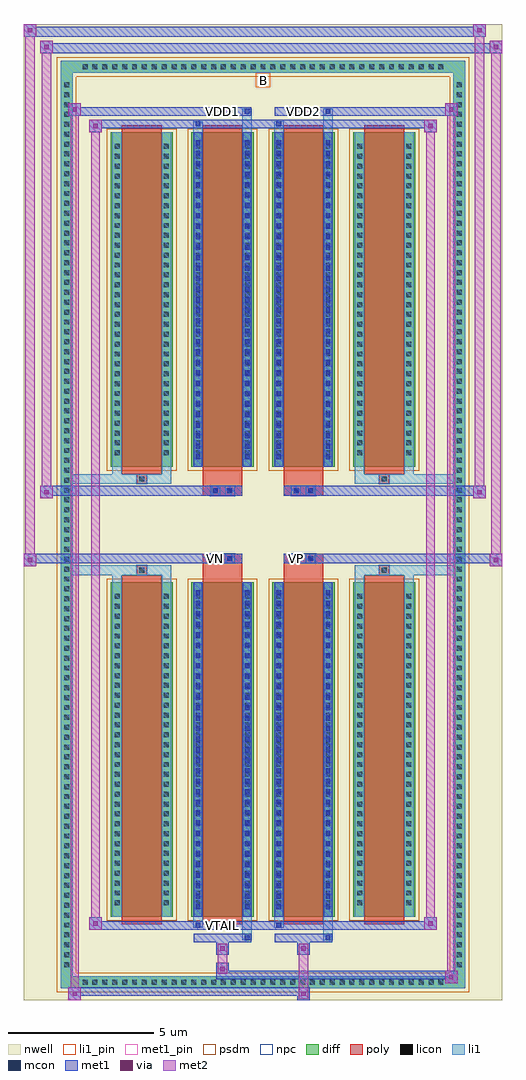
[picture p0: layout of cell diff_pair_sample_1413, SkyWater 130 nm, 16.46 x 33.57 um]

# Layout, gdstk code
import gdstk
lib = gdstk.Library(unit=1e-6, precision=5e-09)
def R(c, l, rs):  # rectangles x0, y0, x1, y1
    for r in rs: c.add(gdstk.rectangle(r[:2], r[2:], *l))
def A(c, l, x, y, w, h, nx, ny, dx, dy):  # array of equal rectangles
    R(c, l, [(x+i*dx, y+j*dy, x+i*dx+w, y+j*dy+h) for i in range(nx) for j in range(ny)])
def P(c, l, *ps):  # polygons
    for p in ps: c.add(gdstk.Polygon(p, *l))
nwell = (64, 20)
diff = (65, 20)
poly = (66, 20)
licon = (66, 44)
li1_pin = (67, 16)
li1 = (67, 20)
mcon = (67, 44)
met1_pin = (68, 16)
met1 = (68, 20)
via = (68, 44)
met2 = (69, 20)
psdm = (94, 20)
npc = (95, 20)

diff_pair_sample_1413 = lib.new_cell('diff_pair_sample_1413')
R(diff_pair_sample_1413, nwell, [(-8.23,-16.35,8.23,17.22), (-5.55,-14.54,-0.01,-0.8), (0.01,-14.54,5.55,-0.8), (-5.55,0.8,-0.01,14.54), (0.01,0.8,5.55,14.54)])
A(diff_pair_sample_1413, diff, -6.325, -15.95, 0.41, 0.41, 37, 2, 0.34, 31.49)
A(diff_pair_sample_1413, diff, -6.96, -15.335, 0.41, 0.41, 1, 90, 0, 0.34)
A(diff_pair_sample_1413, diff, 6.55, -15.335, 0.41, 0.41, 1, 90, 0, 0.34)
A(diff_pair_sample_1413, diff, -5.24, -13.495, 2.14, 11.51, 4, 2, 2.78, 15.48)
R(diff_pair_sample_1413, diff, [(-6.325,-15.95,6.325,-15.54), (-6.96,-15.335,-6.55,15.335), (6.55,-15.335,6.96,15.335), (-6.325,15.54,6.325,15.95)])
P(diff_pair_sample_1413, diff, [(6.96,15.95),(-6.96,15.95),(-6.96,-15.54),(-6.55,-15.54),(-6.55,15.54),(6.55,15.54),(6.55,-15.54),(-6.55,-15.54),(-6.96,-15.54),(-6.96,-15.95),(6.96,-15.95)])
A(diff_pair_sample_1413, poly, -4.85, -13.745, 1.36, 12.01, 4, 2, 2.78, 15.48)
R(diff_pair_sample_1413, poly, [(-4.335,-1.735,-4.005,-1.405), (-4.335,-1.735,-4.005,-1.405), (-2.07,-1.735,-0.71,-1.33), (0.71,-1.735,2.07,-1.33), (4.005,-1.735,4.335,-1.405), (4.005,-1.735,4.335,-1.405), (-2.07,-1.33,-0.71,-1), (-1.805,-1.33,-1.475,-1), (-1.305,-1.33,-0.975,-1), (0.71,-1.33,2.07,-1), (0.975,-1.33,1.305,-1), (1.475,-1.33,1.805,-1), (-2.07,1,-0.71,1.33), (-1.805,1,-1.475,1.33), (-1.305,1,-0.975,1.33), (0.71,1,2.07,1.33), (0.975,1,1.305,1.33), (1.475,1,1.805,1.33), (-2.07,1.33,-0.71,1.735), (0.71,1.33,2.07,1.735), (-4.335,1.405,-4.005,1.735), (-4.335,1.405,-4.005,1.735), (4.005,1.405,4.335,1.735), (4.005,1.405,4.335,1.735)])
A(diff_pair_sample_1413, licon, -6.205, -15.83, 0.17, 0.17, 37, 2, 0.34, 31.49)
A(diff_pair_sample_1413, licon, -6.84, -15.215, 0.17, 0.17, 1, 90, 0, 0.34)
A(diff_pair_sample_1413, licon, 6.67, -15.215, 0.17, 0.17, 1, 90, 0, 0.34)
A(diff_pair_sample_1413, licon, -5.1, -13.095, 0.17, 0.17, 1, 32, 0, 0.34)
A(diff_pair_sample_1413, licon, -3.41, -13.095, 0.17, 0.17, 1, 32, 0, 0.34)
A(diff_pair_sample_1413, licon, -2.32, -13.095, 0.17, 0.17, 1, 32, 0, 0.34)
A(diff_pair_sample_1413, licon, -0.63, -13.095, 0.17, 0.17, 1, 32, 0, 0.34)
A(diff_pair_sample_1413, licon, 0.46, -13.095, 0.17, 0.17, 1, 32, 0, 0.34)
A(diff_pair_sample_1413, licon, 2.15, -13.095, 0.17, 0.17, 1, 32, 0, 0.34)
A(diff_pair_sample_1413, licon, 3.24, -13.095, 0.17, 0.17, 1, 32, 0, 0.34)
A(diff_pair_sample_1413, licon, 4.93, -13.095, 0.17, 0.17, 1, 32, 0, 0.34)
A(diff_pair_sample_1413, licon, -5.1, 2.385, 0.17, 0.17, 1, 32, 0, 0.34)
A(diff_pair_sample_1413, licon, -3.41, 2.385, 0.17, 0.17, 1, 32, 0, 0.34)
A(diff_pair_sample_1413, licon, -2.32, 2.385, 0.17, 0.17, 1, 32, 0, 0.34)
A(diff_pair_sample_1413, licon, -0.63, 2.385, 0.17, 0.17, 1, 32, 0, 0.34)
A(diff_pair_sample_1413, licon, 0.46, 2.385, 0.17, 0.17, 1, 32, 0, 0.34)
A(diff_pair_sample_1413, licon, 2.15, 2.385, 0.17, 0.17, 1, 32, 0, 0.34)
A(diff_pair_sample_1413, licon, 3.24, 2.385, 0.17, 0.17, 1, 32, 0, 0.34)
A(diff_pair_sample_1413, licon, 4.93, 2.385, 0.17, 0.17, 1, 32, 0, 0.34)
R(diff_pair_sample_1413, licon, [(-4.255,-1.655,-4.085,-1.485), (4.085,-1.655,4.255,-1.485), (-1.725,-1.25,-1.555,-1.08), (-1.225,-1.25,-1.055,-1.08), (1.055,-1.25,1.225,-1.08), (1.555,-1.25,1.725,-1.08), (-1.725,1.08,-1.555,1.25), (-1.225,1.08,-1.055,1.25), (1.055,1.08,1.225,1.25), (1.555,1.08,1.725,1.25), (-4.255,1.485,-4.085,1.655), (4.085,1.485,4.255,1.655)])
R(diff_pair_sample_1413, li1_pin, [(-0.25,15.04,0.25,15.54)])
A(diff_pair_sample_1413, li1, -6.285, -15.91, 0.33, 0.33, 37, 2, 0.34, 31.49)
A(diff_pair_sample_1413, li1, -6.92, -15.295, 0.33, 0.33, 1, 90, 0, 0.34)
A(diff_pair_sample_1413, li1, 6.59, -15.295, 0.33, 0.33, 1, 90, 0, 0.34)
A(diff_pair_sample_1413, li1, -2.32, -13.225, 0.17, 0.17, 1, 31, 0, 0.36)
A(diff_pair_sample_1413, li1, -0.63, -13.225, 0.17, 0.17, 1, 31, 0, 0.36)
A(diff_pair_sample_1413, li1, 0.46, -13.225, 0.17, 0.17, 1, 31, 0, 0.36)
A(diff_pair_sample_1413, li1, 2.15, -13.225, 0.17, 0.17, 1, 31, 0, 0.36)
A(diff_pair_sample_1413, li1, -5.18, -13.175, 0.33, 0.33, 1, 32, 0, 0.34)
A(diff_pair_sample_1413, li1, -3.49, -13.175, 0.33, 0.33, 1, 32, 0, 0.34)
A(diff_pair_sample_1413, li1, -2.4, -13.175, 0.33, 0.33, 1, 32, 0, 0.34)
A(diff_pair_sample_1413, li1, -0.71, -13.175, 0.33, 0.33, 1, 32, 0, 0.34)
A(diff_pair_sample_1413, li1, 0.38, -13.175, 0.33, 0.33, 1, 32, 0, 0.34)
A(diff_pair_sample_1413, li1, 2.07, -13.175, 0.33, 0.33, 1, 32, 0, 0.34)
A(diff_pair_sample_1413, li1, 3.16, -13.175, 0.33, 0.33, 1, 32, 0, 0.34)
A(diff_pair_sample_1413, li1, 4.85, -13.175, 0.33, 0.33, 1, 32, 0, 0.34)
A(diff_pair_sample_1413, li1, -2.32, 2.255, 0.17, 0.17, 1, 31, 0, 0.36)
A(diff_pair_sample_1413, li1, -0.63, 2.255, 0.17, 0.17, 1, 31, 0, 0.36)
A(diff_pair_sample_1413, li1, 0.46, 2.255, 0.17, 0.17, 1, 31, 0, 0.36)
A(diff_pair_sample_1413, li1, 2.15, 2.255, 0.17, 0.17, 1, 31, 0, 0.36)
A(diff_pair_sample_1413, li1, -5.18, 2.305, 0.33, 0.33, 1, 32, 0, 0.34)
A(diff_pair_sample_1413, li1, -3.49, 2.305, 0.33, 0.33, 1, 32, 0, 0.34)
A(diff_pair_sample_1413, li1, -2.4, 2.305, 0.33, 0.33, 1, 32, 0, 0.34)
A(diff_pair_sample_1413, li1, -0.71, 2.305, 0.33, 0.33, 1, 32, 0, 0.34)
A(diff_pair_sample_1413, li1, 0.38, 2.305, 0.33, 0.33, 1, 32, 0, 0.34)
A(diff_pair_sample_1413, li1, 2.07, 2.305, 0.33, 0.33, 1, 32, 0, 0.34)
A(diff_pair_sample_1413, li1, 3.16, 2.305, 0.33, 0.33, 1, 32, 0, 0.34)
A(diff_pair_sample_1413, li1, 4.85, 2.305, 0.33, 0.33, 1, 32, 0, 0.34)
R(diff_pair_sample_1413, li1, [(-6.96,-15.95,-6.55,-15.54), (-6.96,-15.95,-6.55,-15.54), (-6.55,-15.95,6.55,-15.54), (6.55,-15.95,6.96,-15.54), (6.55,-15.95,6.96,-15.54), (-6.96,-15.54,-6.55,15.54), (6.55,-15.54,6.96,15.54), (-0.71,-14.3,-0.38,-13.495), (-0.63,-14.3,-0.46,-14.13), (2.07,-14.3,2.4,-13.495), (2.15,-14.3,2.32,-14.13), (-2.4,-13.87,-2.07,-13.495), (-2.32,-13.87,-2.15,-13.7), (0.38,-13.87,0.71,-13.495), (0.46,-13.87,0.63,-13.7), (-5.18,-13.495,-4.85,-1.985), (-3.49,-13.495,-3.16,-1.985), (-2.4,-13.495,-2.07,-1.985), (-0.71,-13.495,-0.38,-1.985), (0.38,-13.495,0.71,-1.985), (2.07,-13.495,2.4,-1.985), (3.16,-13.495,3.49,-1.985), (4.85,-13.495,5.18,-1.985), (-2.32,-13.225,-2.15,-2.255), (-0.63,-13.225,-0.46,-2.255), (0.46,-13.225,0.63,-2.255), (2.15,-13.225,2.32,-2.255), (-5.18,-1.985,-4.85,-1.405), (-3.49,-1.985,-3.16,-1.405), (3.16,-1.985,3.49,-1.405), (4.85,-1.985,5.18,-1.405), (-6.96,-1.735,-4.335,-1.405), (-5.18,-1.735,-4.335,-1.405), (-4.335,-1.735,-4.005,-1.405), (-4.005,-1.735,-3.16,-1.405), (3.16,-1.735,4.005,-1.405), (4.005,-1.735,4.335,-1.405), (4.005,-1.735,6.96,-1.405), (4.335,-1.735,5.18,-1.405), (-1.805,-1.33,-1.475,-1), (-1.305,-1.33,-0.975,-1), (0.975,-1.33,1.305,-1), (1.475,-1.33,1.805,-1), (-1.805,1,-1.475,1.33), (-1.305,1,-0.975,1.33), (0.975,1,1.305,1.33), (1.475,1,1.805,1.33), (-6.96,1.405,-4.335,1.735), (-5.18,1.405,-4.335,1.735), (-5.18,1.405,-4.85,1.985), (-4.335,1.405,-4.005,1.735), (-4.005,1.405,-3.16,1.735), (-3.49,1.405,-3.16,1.985), (3.16,1.405,4.005,1.735), (3.16,1.405,3.49,1.985), (4.005,1.405,4.335,1.735), (4.005,1.405,6.96,1.735), (4.335,1.405,5.18,1.735), (4.85,1.405,5.18,1.985), (-5.18,1.985,-4.85,13.495), (-3.49,1.985,-3.16,13.495), (-2.4,1.985,-2.07,13.495), (-0.71,1.985,-0.38,13.495), (0.38,1.985,0.71,13.495), (2.07,1.985,2.4,13.495), (3.16,1.985,3.49,13.495), (4.85,1.985,5.18,13.495), (-2.32,2.255,-2.15,13.225), (-0.63,2.255,-0.46,13.225), (0.46,2.255,0.63,13.225), (2.15,2.255,2.32,13.225), (-2.4,13.495,-2.07,13.87), (-0.71,13.495,-0.38,14.3), (0.38,13.495,0.71,13.87), (2.07,13.495,2.4,14.3), (-2.32,13.7,-2.15,13.87), (0.46,13.7,0.63,13.87), (-0.63,14.13,-0.46,14.3), (2.15,14.13,2.32,14.3), (-6.96,15.54,-6.55,15.95), (-6.96,15.54,-6.55,15.95), (-6.55,15.54,6.55,15.95), (6.55,15.54,6.96,15.95), (6.55,15.54,6.96,15.95)])
A(diff_pair_sample_1413, mcon, -2.32, -13.225, 0.17, 0.17, 1, 31, 0, 0.36)
A(diff_pair_sample_1413, mcon, -0.63, -13.225, 0.17, 0.17, 1, 31, 0, 0.36)
A(diff_pair_sample_1413, mcon, 0.46, -13.225, 0.17, 0.17, 1, 31, 0, 0.36)
A(diff_pair_sample_1413, mcon, 2.15, -13.225, 0.17, 0.17, 1, 31, 0, 0.36)
A(diff_pair_sample_1413, mcon, -2.32, 2.255, 0.17, 0.17, 1, 31, 0, 0.36)
A(diff_pair_sample_1413, mcon, -0.63, 2.255, 0.17, 0.17, 1, 31, 0, 0.36)
A(diff_pair_sample_1413, mcon, 0.46, 2.255, 0.17, 0.17, 1, 31, 0, 0.36)
A(diff_pair_sample_1413, mcon, 2.15, 2.255, 0.17, 0.17, 1, 31, 0, 0.36)
R(diff_pair_sample_1413, mcon, [(-0.63,-14.3,-0.46,-14.13), (2.15,-14.3,2.32,-14.13), (-2.32,-13.87,-2.15,-13.7), (0.46,-13.87,0.63,-13.7), (-1.725,-1.25,-1.555,-1.08), (-1.225,-1.25,-1.055,-1.08), (1.055,-1.25,1.225,-1.08), (1.555,-1.25,1.725,-1.08), (-1.725,1.08,-1.555,1.25), (-1.225,1.08,-1.055,1.25), (1.055,1.08,1.225,1.25), (1.555,1.08,1.725,1.25), (-2.32,13.7,-2.15,13.87), (0.46,13.7,0.63,13.87), (-0.63,14.13,-0.46,14.3), (2.15,14.13,2.32,14.3)])
R(diff_pair_sample_1413, met1_pin, [(-1.525,-13.91,-1.255,-13.64), (-1.775,-1.29,-1.505,-1.02), (1.005,-1.29,1.275,-1.02), (-1.525,14.09,-1.255,14.36), (1.255,14.09,1.525,14.36)])
A(diff_pair_sample_1413, met1, -2.38, -13.285, 0.29, 0.29, 1, 31, 0, 0.36)
A(diff_pair_sample_1413, met1, -0.69, -13.285, 0.29, 0.29, 1, 31, 0, 0.36)
A(diff_pair_sample_1413, met1, 0.4, -13.285, 0.29, 0.29, 1, 31, 0, 0.36)
A(diff_pair_sample_1413, met1, 2.09, -13.285, 0.29, 0.29, 1, 31, 0, 0.36)
A(diff_pair_sample_1413, met1, -2.38, 2.195, 0.29, 0.29, 1, 31, 0, 0.36)
A(diff_pair_sample_1413, met1, -0.69, 2.195, 0.29, 0.29, 1, 31, 0, 0.36)
A(diff_pair_sample_1413, met1, 0.4, 2.195, 0.29, 0.29, 1, 31, 0, 0.36)
A(diff_pair_sample_1413, met1, 2.09, 2.195, 0.29, 0.29, 1, 31, 0, 0.36)
R(diff_pair_sample_1413, met1, [(-6.69,-16.35,-6.26,-15.92), (1.175,-16.35,1.605,-15.92), (-6.69,-16.21,1.605,-15.92), (6.26,-15.78,6.69,-15.35), (-1.605,-15.64,6.69,-15.35), (-1.605,-15.5,-1.175,-15.07), (-1.605,-14.79,-1.175,-14.36), (1.175,-14.79,1.605,-14.36), (-2.38,-14.36,-0.4,-14.07), (-0.69,-14.36,-0.4,-14.07), (0.4,-14.36,2.38,-14.07), (2.09,-14.36,2.38,-14.07), (-5.98,-13.93,-5.55,-13.5), (-5.98,-13.93,-2.38,-13.64), (-2.38,-13.93,-2.09,-13.64), (-2.38,-13.93,-0.4,-13.64), (-0.4,-13.93,0.4,-13.64), (0.4,-13.93,0.69,-13.64), (0.4,-13.93,2.38,-13.64), (2.38,-13.93,5.98,-13.64), (5.55,-13.93,5.98,-13.5), (-2.38,-13.495,-2.09,-1.985), (-0.69,-13.495,-0.4,-1.985), (0.4,-13.495,0.69,-1.985), (2.09,-13.495,2.38,-1.985), (-8.23,-1.43,-7.8,-1), (7.8,-1.43,8.23,-1), (-8.23,-1.33,-0.71,-1), (-2.07,-1.33,-0.71,-1), (0.71,-1.33,2.07,-1), (0.71,-1.33,8.23,-1), (-1.785,-1.31,-1.495,-1.02), (-1.285,-1.31,-0.995,-1.02), (0.995,-1.31,1.285,-1.02), (1.495,-1.31,1.785,-1.02), (-7.66,0.9,-7.23,1.33), (7.23,0.9,7.66,1.33), (-7.66,1,-2.07,1.33), (-2.07,1,-0.71,1.33), (0.71,1,2.07,1.33), (2.07,1,7.66,1.33), (-1.785,1.02,-1.495,1.31), (-1.285,1.02,-0.995,1.31), (0.995,1.02,1.285,1.31), (1.495,1.02,1.785,1.31), (-2.38,1.985,-2.09,13.495), (-0.69,1.985,-0.4,13.495), (0.4,1.985,0.69,13.495), (2.09,1.985,2.38,13.495), (-5.98,13.5,-5.55,13.93), (5.55,13.5,5.98,13.93), (-5.98,13.64,-2.38,13.93), (-2.38,13.64,-2.09,13.93), (-2.38,13.64,-0.4,13.93), (-0.4,13.64,0.4,13.93), (0.4,13.64,0.69,13.93), (0.4,13.64,2.38,13.93), (2.38,13.64,5.98,13.93), (-6.69,14.07,-6.26,14.5), (-6.69,14.07,-2.38,14.36), (-2.38,14.07,-0.4,14.36), (-0.69,14.07,-0.4,14.36), (0.4,14.07,2.38,14.36), (2.09,14.07,2.38,14.36), (2.38,14.07,6.69,14.36), (6.26,14.07,6.69,14.5), (-7.66,16.22,-7.23,16.65), (-7.66,16.22,-5.55,16.55), (-5.55,16.22,5.55,16.55), (5.55,16.22,8.23,16.55), (7.8,16.22,8.23,16.65), (-8.23,16.79,-7.8,17.22), (-8.23,16.79,-5.55,17.12), (-5.55,16.79,5.55,17.12), (5.55,16.79,7.66,17.12), (7.23,16.79,7.66,17.22)])
R(diff_pair_sample_1413, via, [(-6.55,-16.21,-6.4,-16.06), (1.315,-16.21,1.465,-16.06), (6.4,-15.64,6.55,-15.49), (-1.465,-15.36,-1.315,-15.21), (-1.465,-14.65,-1.315,-14.5), (1.315,-14.65,1.465,-14.5), (-5.84,-13.79,-5.69,-13.64), (5.69,-13.79,5.84,-13.64), (-8.09,-1.29,-7.94,-1.14), (7.94,-1.29,8.09,-1.14), (-7.52,1.04,-7.37,1.19), (7.37,1.04,7.52,1.19), (-5.84,13.64,-5.69,13.79), (5.69,13.64,5.84,13.79), (-6.55,14.21,-6.4,14.36), (6.4,14.21,6.55,14.36), (-7.52,16.36,-7.37,16.51), (7.94,16.36,8.09,16.51), (-8.09,16.93,-7.94,17.08), (7.37,16.93,7.52,17.08)])
R(diff_pair_sample_1413, met2, [(-6.69,-16.35,-6.26,-15.92), (-6.62,-16.35,-6.33,14.5), (-6.33,-16.35,-6.26,-15.92), (-6.64,-16.3,-6.31,-15.97), (1.225,-16.3,1.555,-15.97), (1.225,-15.97,1.555,-14.74), (6.26,-15.78,6.69,-15.35), (6.33,-15.78,6.62,14.5), (6.62,-15.78,6.69,-15.35), (6.31,-15.73,6.64,-15.4), (-1.555,-15.45,-1.225,-15.12), (-1.555,-15.12,-1.225,-14.74), (-1.555,-14.74,-1.225,-14.41), (1.225,-14.74,1.555,-14.41), (-5.98,-13.93,-5.55,-13.5), (-5.91,-13.93,-5.62,13.93), (-5.62,-13.93,-5.55,-13.5), (5.55,-13.93,5.98,-13.5), (5.62,-13.93,5.91,13.93), (5.91,-13.93,5.98,-13.5), (-5.93,-13.88,-5.6,-13.55), (5.6,-13.88,5.93,-13.55), (-8.23,-1.43,-7.8,-1), (-8.18,-1.43,-7.85,17.22), (-7.85,-1.43,-7.8,-1), (7.8,-1.43,8.23,-1), (7.85,-1.43,8.18,16.65), (8.18,-1.43,8.23,-1), (-8.18,-1.38,-7.85,-1.05), (7.85,-1.38,8.18,-1.05), (-7.66,0.9,-7.23,1.33), (-7.61,0.9,-7.28,16.65), (-7.28,0.9,-7.23,1.33), (7.23,0.9,7.66,1.33), (7.28,0.9,7.61,17.22), (7.61,0.9,7.66,1.33), (-7.61,0.95,-7.28,1.28), (7.28,0.95,7.61,1.28), (-5.98,13.5,-5.55,13.93), (-5.62,13.5,-5.55,13.93), (5.55,13.5,5.98,13.93), (5.91,13.5,5.98,13.93), (-5.93,13.55,-5.6,13.88), (5.6,13.55,5.93,13.88), (-6.69,14.07,-6.26,14.5), (-6.33,14.07,-6.26,14.5), (6.26,14.07,6.69,14.5), (6.62,14.07,6.69,14.5), (-6.64,14.12,-6.31,14.45), (6.31,14.12,6.64,14.45), (-7.66,16.22,-7.23,16.65), (-7.28,16.22,-7.23,16.65), (7.8,16.22,8.23,16.65), (8.18,16.22,8.23,16.65), (-7.61,16.27,-7.28,16.6), (7.85,16.27,8.18,16.6), (-8.23,16.79,-7.8,17.22), (-7.85,16.79,-7.8,17.22), (7.23,16.79,7.66,17.22), (7.61,16.79,7.66,17.22), (-8.18,16.84,-7.85,17.17), (7.28,16.84,7.61,17.17)])
A(diff_pair_sample_1413, psdm, -5.37, -13.625, 2.4, 11.77, 4, 2, 2.78, 15.48)
P(diff_pair_sample_1413, psdm, [(7.09,16.08),(-7.09,16.08),(-7.09,-15.41),(-6.42,-15.41),(-6.42,15.41),(6.42,15.41),(6.42,-15.41),(-6.42,-15.41),(-7.09,-15.41),(-7.09,-16.08),(7.09,-16.08)])
R(diff_pair_sample_1413, npc, [(-4.355,-1.755,-3.985,-1.385), (3.985,-1.755,4.355,-1.385), (-1.825,-1.35,-1.455,-0.98), (-1.825,-1.35,-0.955,-0.98), (-1.825,-1.35,-0.955,-0.98), (-1.325,-1.35,-0.955,-0.98), (0.955,-1.35,1.325,-0.98), (0.955,-1.35,1.825,-0.98), (0.955,-1.35,1.825,-0.98), (1.455,-1.35,1.825,-0.98), (-1.825,0.98,-1.455,1.35), (-1.825,0.98,-0.955,1.35), (-1.825,0.98,-0.955,1.35), (-1.325,0.98,-0.955,1.35), (0.955,0.98,1.325,1.35), (0.955,0.98,1.825,1.35), (0.955,0.98,1.825,1.35), (1.455,0.98,1.825,1.35), (-4.355,1.385,-3.985,1.755), (3.985,1.385,4.355,1.755)])
diff_pair_sample_1413.add(gdstk.Label('VTAIL', (-1.39,-13.775), layer=68, texttype=5))
diff_pair_sample_1413.add(gdstk.Label('VN', (-1.64,-1.155), layer=68, texttype=5))
diff_pair_sample_1413.add(gdstk.Label('VP', (1.14,-1.155), layer=68, texttype=5))
diff_pair_sample_1413.add(gdstk.Label('B', (0,15.29), layer=67, texttype=5))
diff_pair_sample_1413.add(gdstk.Label('VDD2', (1.39,14.225), layer=68, texttype=5))
diff_pair_sample_1413.add(gdstk.Label('VDD1', (-1.39,14.225), layer=68, texttype=5))

lib.write_gds('diff_pair_sample_1413.gds')
